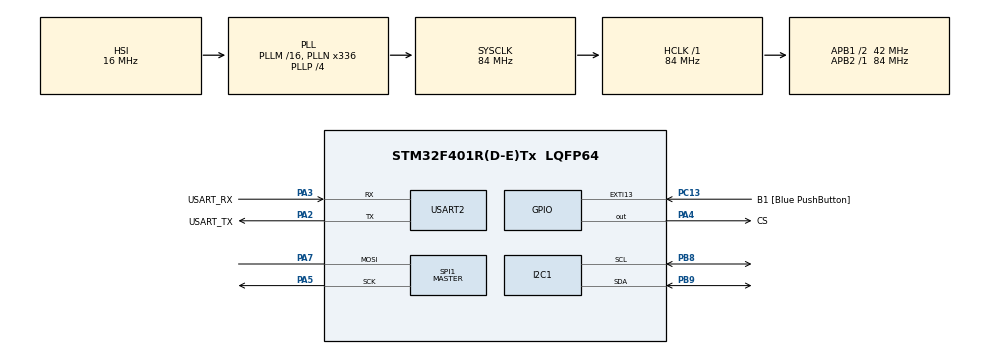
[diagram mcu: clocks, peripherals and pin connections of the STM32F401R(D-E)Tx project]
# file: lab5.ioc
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Mcu.Family=STM32F4
Mcu.Name=STM32F401R(D-E)Tx
Mcu.Package=LQFP64
NVIC.PriorityGroup=NVIC_PRIORITYGROUP_4
PA13.GPIO_Label=TMS
PA13.Mode=Trace_Asynchronous_SW
PA13.Signal=SYS_JTMS-SWDIO
PA14.GPIO_Label=TCK
PA14.Mode=Trace_Asynchronous_SW
PA14.Signal=SYS_JTCK-SWCLK
PA2.GPIO_Label=USART_TX
PA2.GPIO_Mode=GPIO_MODE_AF_PP
PA2.GPIO_PuPd=GPIO_NOPULL
PA2.GPIO_Speed=GPIO_SPEED_FREQ_LOW
PA2.Mode=Asynchronous
PA2.Signal=USART2_TX
PA3.GPIO_Label=USART_RX
PA3.GPIO_Mode=GPIO_MODE_AF_PP
PA3.GPIO_PuPd=GPIO_NOPULL
PA3.GPIO_Speed=GPIO_SPEED_FREQ_LOW
PA3.Mode=Asynchronous
PA3.Signal=USART2_RX
PA4.GPIO_Label=CS
PA4.Signal=GPIO_Output
PA5.Mode=Simplex_Bidirectional_Master
PA5.Signal=SPI1_SCK
PA7.Mode=Simplex_Bidirectional_Master
PA7.Signal=SPI1_MOSI
PB3.GPIO_Label=SWO
PB3.Mode=Trace_Asynchronous_SW
PB3.Signal=SYS_JTDO-SWO
PB8.Mode=I2C
PB8.Signal=I2C1_SCL
PB9.Mode=I2C
PB9.Signal=I2C1_SDA
PC13-ANTI_TAMP.GPIO_Label=B1 [Blue PushButton]
PC13-ANTI_TAMP.GPIO_ModeDefaultEXTI=GPIO_MODE_IT_FALLING
PC13-ANTI_TAMP.GPIO_PuPd=GPIO_NOPULL
PC13-ANTI_TAMP.Signal=GPXTI13
PC14-OSC32_IN.Mode=LSE-External-Oscillator
PC14-OSC32_IN.Signal=RCC_OSC32_IN
PC15-OSC32_OUT.Mode=LSE-External-Oscillator
PC15-OSC32_OUT.Signal=RCC_OSC32_OUT
PH0\ -\ OSC_IN.Mode=HSE-External-Clock-Source
PH0\ -\ OSC_IN.Signal=RCC_OSC_IN
PH1\ -\ OSC_OUT.Mode=HSE-External-Clock-Source
PH1\ -\ OSC_OUT.Signal=RCC_OSC_OUT
ProjectManager.HeapSize=0x200
ProjectManager.StackSize=0x400
ProjectManager.TargetToolchain=STM32CubeIDE
RCC.48MHZClocksFreq_Value=48000000
RCC.AHBFreq_Value=84000000
RCC.APB1CLKDivider=RCC_HCLK_DIV2
RCC.APB1Freq_Value=42000000
RCC.APB1TimFreq_Value=84000000
RCC.APB2Freq_Value=84000000
RCC.APB2TimFreq_Value=84000000
RCC.CortexFreq_Value=84000000
RCC.HCLKFreq_Value=84000000
RCC.HSE_VALUE=8000000
RCC.HSI_VALUE=16000000
RCC.PLLN=336
RCC.PLLP=RCC_PLLP_DIV4
RCC.PLLQ=7
RCC.SYSCLKFreq_VALUE=84000000
RCC.SYSCLKSource=RCC_SYSCLKSOURCE_PLLCLK
RCC.VCOOutputFreq_Value=336000000
SPI1.BaudRatePrescaler=SPI_BAUDRATEPRESCALER_32
SPI1.CLKPolarity=SPI_POLARITY_HIGH
SPI1.DataSize=SPI_DATASIZE_16BIT
SPI1.Direction=SPI_DIRECTION_1LINE
SPI1.Mode=SPI_MODE_MASTER
SPI1.VirtualType=VM_MASTER
USART2.VirtualMode=VM_ASYNC
board=NUCLEO-F401RE

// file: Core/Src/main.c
/* USER CODE BEGIN Header */
/**
  ******************************************************************************
  * @file           : main.c
  * @brief          : Main program body
  ******************************************************************************
  * @attention
  *
  * Copyright (c) 2025 STMicroelectronics.
  * All rights reserved.
  *
  * This software is licensed under terms that can be found in the LICENSE file
  * in the root directory of this software component.
  * If no LICENSE file comes with this software, it is provided AS-IS.
  *
  ******************************************************************************
  */
/* USER CODE END Header */
#include "main.h"

/* USER CODE BEGIN Includes */
#include <math.h>
/* USER CODE END Includes */

/* USER CODE BEGIN PD */
#define MPU6050_ADDR 0x68 << 1 //The 7 bit address is b110100X. Here the value of X depends on the pin AD0

#define GYRO_CONFIG_REG 0x1B
#define ACCEL_CONFIG_REG 0x1C
/* USER CODE END PD */

I2C_HandleTypeDef hi2c1;

SPI_HandleTypeDef hspi1;

UART_HandleTypeDef huart2;

/* USER CODE BEGIN PV */
int16_t ax_offset = 0, ay_offset = 0, az_offset = 0;

int16_t Accel_X_RAW = 0;
int16_t Accel_Y_RAW = 0;
int16_t Accel_Z_RAW = 0;
float Ax, Ay, Az;

uint8_t who_am_i;
uint8_t Data;
/* USER CODE END PV */

void SystemClock_Config(void);
static void MX_GPIO_Init(void);
static void MX_USART2_UART_Init(void);
static void MX_I2C1_Init(void);
static void MX_SPI1_Init(void);
/* USER CODE BEGIN PFP */
void MPU6050_Init();
void MPU6050_WriteRegister(uint8_t reg, uint8_t data);
uint8_t MPU6050_ReadRegister(uint8_t reg);
void MPU6050_ReadRegisters(uint8_t reg, uint8_t *buffer, uint8_t length);
void MPU6050_ReadAccel(void);
//for i2c

/* USER CODE END PFP */

/* USER CODE BEGIN 0 */

//MPU6050
void MPU6050_WriteRegister(uint8_t reg, uint8_t data){ //Writes a single byte of data to a specific register in the MPU6050.

	uint8_t buffer[2];
	buffer[0] = reg;  	//1.Send the register address.
	buffer[1] = data;   //2.Send the data to be written.
	HAL_I2C_Master_Transmit(&hi2c1, MPU6050_ADDR, buffer, 2, HAL_MAX_DELAY);  //3.For I2C, HAL_I2C_Master_Transmit() is used.
}

//Reads a single byte of data from a specific register in the MPU6050.
uint8_t MPU6050_ReadRegister(uint8_t reg){ //Write the register address.
	uint8_t data;   // Read a single byte from that register.
	HAL_I2C_Mem_Read(&hi2c1, MPU6050_ADDR, reg, I2C_MEMADD_SIZE_8BIT, &data, 1, HAL_MAX_DELAY); //For I2C, HAL_I2C_Mem_Read() is used.

	return data;
}

// Reads multiple consecutive bytes from the MPU6050 starting at a specific register.
void MPU6050_ReadRegisters(uint8_t reg, uint8_t *buffer, uint8_t length){ // Specify the starting register.  Read multiple bytes into a buffer.
  HAL_I2C_Mem_Read(&hi2c1, MPU6050_ADDR, reg, I2C_MEMADD_SIZE_8BIT, buffer, length, HAL_MAX_DELAY);
}

//Reads raw accelerometer data from the MPU6050 and converts it into 16-bit signed integers.
void MPU6050_ReadAccel(void){
	uint8_t Rec_Data[6];

	// Read 6 BYTES of data starting from ACCEL_XOUT_H (0x3B) register
	HAL_I2C_Mem_Read (&hi2c1, MPU6050_ADDR, 0x3B, 1, Rec_Data, 6, 1000);
	Accel_X_RAW = (int16_t)(Rec_Data[0] << 8 | Rec_Data [1]);
	Accel_Y_RAW = (int16_t)(Rec_Data[2] << 8 | Rec_Data [3]);
	Accel_Z_RAW = (int16_t)(Rec_Data[4] << 8 | Rec_Data [5]);
	Ax = (float)Accel_X_RAW/16384.0;
	Ay = (float)Accel_Y_RAW/16384.0;
	Az = (float)Accel_Z_RAW/16384.0;
}

void MPU6050_Init (void){
	who_am_i =  MPU6050_ReadRegister(0x75);  // Read WHO_AM_I

    if (who_am_i == 0x68) {  // 0x68 will be returned by the sensor if everything goes well
        // Power management register 0x6B: write 0 to wake the sensor up
        MPU6050_WriteRegister(0x6B, 0x00);

        // Set DATA RATE of 1KHz by writing SMPLRT_DIV register
        MPU6050_WriteRegister(0x19, 0x07);

        // Set Accelerometer configuration in ACCEL_CONFIG Register
        MPU6050_WriteRegister(ACCEL_CONFIG_REG, 0x00);  // ± 2g

        // Set Gyroscopic configuration in GYRO_CONFIG Register
        MPU6050_WriteRegister(GYRO_CONFIG_REG, 0x00);  // ± 250 °/s
    }
}

float Calculate_Tilt_Angle(float a1, float a2) {
    return atan2(a1, a2) * (180.0 / M_PI);
}

//*****DISPLAY 8x8 MATRIX******
void max7219_write (uint8_t Addr, uint8_t data)
{
	uint16_t writeData = (Addr<<8)|data;
	HAL_GPIO_WritePin(CS_GPIO_Port, CS_Pin, 0);  // enable slave
	HAL_SPI_Transmit(&hspi1, (uint8_t *)&writeData, 1, 100);
	HAL_GPIO_WritePin(CS_GPIO_Port, CS_Pin, 1);  // disable slave
}

void matrixInit (void)
{
	max7219_write(0x09, 0);  // no decoding
	max7219_write(0x0a, 0x01);  // 3/32 intensity
	max7219_write(0x0B, 0x07);  // scan all 7 columns
	max7219_write(0x0C, 0x01);  // normal operation
	max7219_write(0x0F, 0);     // No display test
}

void Display_Tilt_Status(float ax, float ay, float az) {
    static int8_t lastX = 3, lastY = 3; // Start at the center

    // Calculate tilt angles
    float angleX = Calculate_Tilt_Angle(ax, az);
    float angleY = Calculate_Tilt_Angle(ay, az);

    // Map -90 to 90 degrees into 0 to 7 for the 8x8 grid
    int8_t displayX = (int8_t)((angleX + 45) / 90 * 8);
    int8_t displayY = (int8_t)((angleY + 45) / 90 * 8);

    // Clamp values to ensure they are within the 8x8 grid
    displayX = (displayX < 0) ? 0 : (displayX > 7) ? 7 : displayX;
    displayY = (displayY < 0) ? 0 : (displayY > 7) ? 7 : displayY;

    // Clear the display
    for (int i = 1; i <= 8; i++) {
        max7219_write(i, 0x00); // Turn off all LEDs
    }

    // Light up the LED at (displayX, displayY)
    max7219_write(displayY + 1, 0x01 << displayX);

    // Update last valid position
    lastX = displayX;
    lastY = displayY;
}

//for i2c

/* USER CODE END 0 */

int main(void)
{

  /* MCU Configuration--------------------------------------------------------*/

  /* Reset of all peripherals, Initializes the Flash interface and the Systick. */
  HAL_Init();

  /* USER CODE BEGIN Init */
  MX_I2C1_Init();

  /* USER CODE END Init */

  /* Configure the system clock */
  SystemClock_Config();

  /* Initialize all configured peripherals */
  MX_GPIO_Init();
  MX_USART2_UART_Init();
  MX_I2C1_Init();
  MX_SPI1_Init();
  /* USER CODE BEGIN 2 */
  matrixInit();
  MPU6050_Init();
  /* USER CODE END 2 */

  /* Infinite loop */
  while (1)
  {
    /* USER CODE BEGIN 3 */
	  //	max7219_write(1, 0b00011000);
	    MPU6050_ReadAccel();
	    Display_Tilt_Status(Ax, Ay, Az);
	    HAL_Delay(100);
  }
  /* USER CODE END 3 */
}

void SystemClock_Config(void)
{
  RCC_OscInitTypeDef RCC_OscInitStruct = {0};
  RCC_ClkInitTypeDef RCC_ClkInitStruct = {0};

  /** Configure the main internal regulator output voltage
  */
  __HAL_RCC_PWR_CLK_ENABLE();
  __HAL_PWR_VOLTAGESCALING_CONFIG(PWR_REGULATOR_VOLTAGE_SCALE2);

  /** Initializes the RCC Oscillators according to the specified parameters
  * in the RCC_OscInitTypeDef structure.
  */
  RCC_OscInitStruct.OscillatorType = RCC_OSCILLATORTYPE_HSI;
  RCC_OscInitStruct.HSIState = RCC_HSI_ON;
  RCC_OscInitStruct.HSICalibrationValue = RCC_HSICALIBRATION_DEFAULT;
  RCC_OscInitStruct.PLL.PLLState = RCC_PLL_ON;
  RCC_OscInitStruct.PLL.PLLSource = RCC_PLLSOURCE_HSI;
  RCC_OscInitStruct.PLL.PLLM = 16;
  RCC_OscInitStruct.PLL.PLLN = 336;
  RCC_OscInitStruct.PLL.PLLP = RCC_PLLP_DIV4;
  RCC_OscInitStruct.PLL.PLLQ = 7;
  if (HAL_RCC_OscConfig(&RCC_OscInitStruct) != HAL_OK)
  {
    Error_Handler();
  }

  /** Initializes the CPU, AHB and APB buses clocks
  */
  RCC_ClkInitStruct.ClockType = RCC_CLOCKTYPE_HCLK|RCC_CLOCKTYPE_SYSCLK
                              |RCC_CLOCKTYPE_PCLK1|RCC_CLOCKTYPE_PCLK2;
  RCC_ClkInitStruct.SYSCLKSource = RCC_SYSCLKSOURCE_PLLCLK;
  RCC_ClkInitStruct.AHBCLKDivider = RCC_SYSCLK_DIV1;
  RCC_ClkInitStruct.APB1CLKDivider = RCC_HCLK_DIV2;
  RCC_ClkInitStruct.APB2CLKDivider = RCC_HCLK_DIV1;

  if (HAL_RCC_ClockConfig(&RCC_ClkInitStruct, FLASH_LATENCY_2) != HAL_OK)
  {
    Error_Handler();
  }
}

static void MX_I2C1_Init(void)
{

  hi2c1.Instance = I2C1;
  hi2c1.Init.ClockSpeed = 100000;
  hi2c1.Init.DutyCycle = I2C_DUTYCYCLE_2;
  hi2c1.Init.OwnAddress1 = 0;
  hi2c1.Init.AddressingMode = I2C_ADDRESSINGMODE_7BIT;
  hi2c1.Init.DualAddressMode = I2C_DUALADDRESS_DISABLE;
  hi2c1.Init.OwnAddress2 = 0;
  hi2c1.Init.GeneralCallMode = I2C_GENERALCALL_DISABLE;
  hi2c1.Init.NoStretchMode = I2C_NOSTRETCH_DISABLE;
  if (HAL_I2C_Init(&hi2c1) != HAL_OK)
  {
    Error_Handler();
  }

}

static void MX_SPI1_Init(void)
{

  /* SPI1 parameter configuration*/
  hspi1.Instance = SPI1;
  hspi1.Init.Mode = SPI_MODE_MASTER;
  hspi1.Init.Direction = SPI_DIRECTION_1LINE;
  hspi1.Init.DataSize = SPI_DATASIZE_16BIT;
  hspi1.Init.CLKPolarity = SPI_POLARITY_HIGH;
  hspi1.Init.CLKPhase = SPI_PHASE_1EDGE;
  hspi1.Init.NSS = SPI_NSS_SOFT;
  hspi1.Init.BaudRatePrescaler = SPI_BAUDRATEPRESCALER_32;
  hspi1.Init.FirstBit = SPI_FIRSTBIT_MSB;
  hspi1.Init.TIMode = SPI_TIMODE_DISABLE;
  hspi1.Init.CRCCalculation = SPI_CRCCALCULATION_DISABLE;
  hspi1.Init.CRCPolynomial = 10;
  if (HAL_SPI_Init(&hspi1) != HAL_OK)
  {
    Error_Handler();
  }

}

static void MX_USART2_UART_Init(void)
{

  huart2.Instance = USART2;
  huart2.Init.BaudRate = 115200;
  huart2.Init.WordLength = UART_WORDLENGTH_8B;
  huart2.Init.StopBits = UART_STOPBITS_1;
  huart2.Init.Parity = UART_PARITY_NONE;
  huart2.Init.Mode = UART_MODE_TX_RX;
  huart2.Init.HwFlowCtl = UART_HWCONTROL_NONE;
  huart2.Init.OverSampling = UART_OVERSAMPLING_16;
  if (HAL_UART_Init(&huart2) != HAL_OK)
  {
    Error_Handler();
  }

}

static void MX_GPIO_Init(void)
{
  GPIO_InitTypeDef GPIO_InitStruct = {0};

  /* GPIO Ports Clock Enable */
  __HAL_RCC_GPIOC_CLK_ENABLE();
  __HAL_RCC_GPIOH_CLK_ENABLE();
  __HAL_RCC_GPIOA_CLK_ENABLE();
  __HAL_RCC_GPIOB_CLK_ENABLE();

  /*Configure GPIO pin Output Level */
  HAL_GPIO_WritePin(CS_GPIO_Port, CS_Pin, GPIO_PIN_RESET);

  /*Configure GPIO pin : B1_Pin */
  GPIO_InitStruct.Pin = B1_Pin;
  GPIO_InitStruct.Mode = GPIO_MODE_IT_FALLING;
  GPIO_InitStruct.Pull = GPIO_NOPULL;
  HAL_GPIO_Init(B1_GPIO_Port, &GPIO_InitStruct);

  /*Configure GPIO pin : CS_Pin */
  GPIO_InitStruct.Pin = CS_Pin;
  GPIO_InitStruct.Mode = GPIO_MODE_OUTPUT_PP;
  GPIO_InitStruct.Pull = GPIO_NOPULL;
  GPIO_InitStruct.Speed = GPIO_SPEED_FREQ_LOW;
  HAL_GPIO_Init(CS_GPIO_Port, &GPIO_InitStruct);

}

void Error_Handler(void)
{
  __disable_irq();
  while (1)
  {
  }
}
